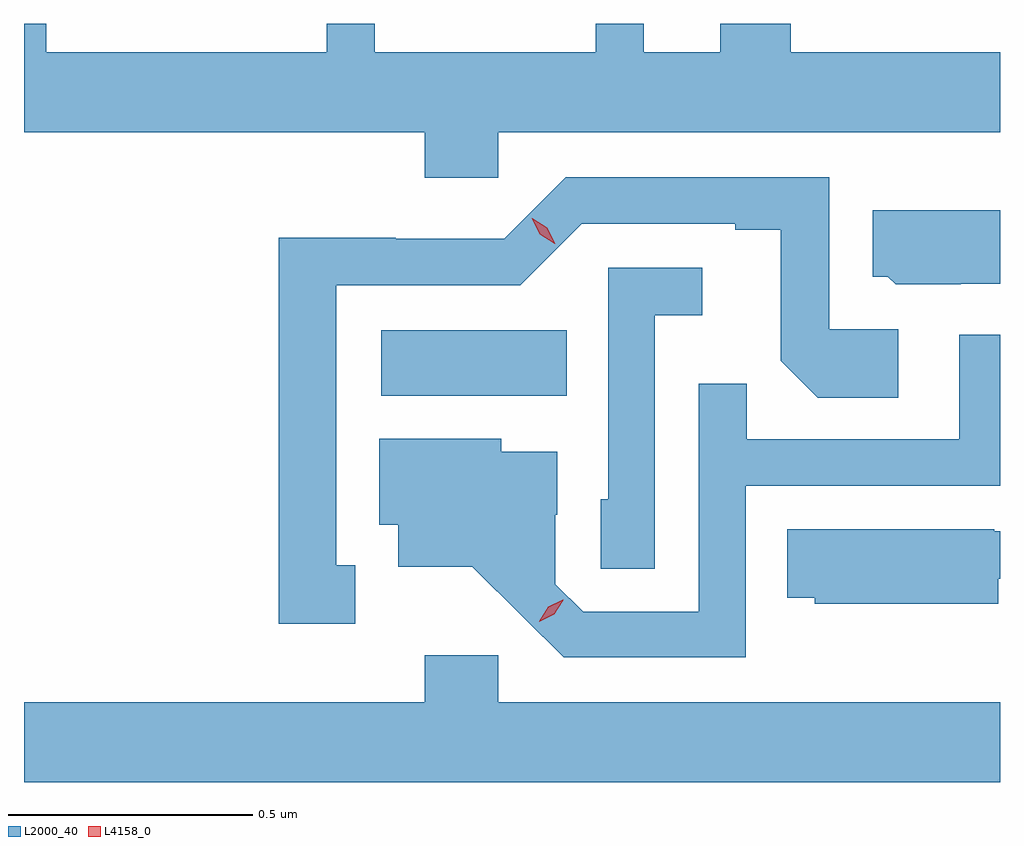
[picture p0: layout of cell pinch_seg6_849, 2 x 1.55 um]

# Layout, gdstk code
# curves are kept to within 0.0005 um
import gdstk
lib = gdstk.Library(unit=1e-6, precision=1e-09)
def R(c, l, rs):  # rectangles x0, y0, x1, y1
    for r in rs: c.add(gdstk.rectangle(r[:2], r[2:], *l))
def P(c, l, *ps):  # polygons
    for p in ps: c.add(gdstk.Polygon(p, *l))
L2000_40 = (2000, 40)
L4158_0 = (4158, 0)

pinch_seg6_849 = lib.new_cell('pinch_seg6_849')
R(pinch_seg6_849, L2000_40, [(150.696,976.1,151.076,976.234)])
P(pinch_seg6_849, L2000_40, [(150.936,976.64),(151.964,976.64),(151.964,976.804),(151.535,976.804),(151.535,976.862),(151.391,976.862),(151.391,976.804),(151.234,976.804),(151.234,976.862),(151.136,976.862),(151.136,976.804),(150.683,976.804),(150.683,976.862),(150.584,976.862),(150.584,976.804),(150.01,976.804),(150.01,976.862),(149.964,976.862),(149.964,976.64),(150.785,976.64),(150.785,976.547),(150.936,976.547)],
  [(150.643,975.753),(150.604,975.753),(150.604,976.326),(150.981,976.326),(151.107,976.452),(151.421,976.452),(151.421,976.44),(151.515,976.44),(151.515,976.172),(151.591,976.096),(151.756,976.096),(151.756,976.236),(151.614,976.236),(151.614,976.548),(151.074,976.548),(150.948,976.422),(150.726,976.422),(150.726,976.424),(150.486,976.424),(150.486,975.633),(150.643,975.633)],
  [(151.884,976.329),(151.964,976.329),(151.964,976.48),(151.703,976.48),(151.703,976.344),(151.734,976.344),(151.75,976.328),(151.884,976.328)],
  [(151.257,976.265),(151.354,976.265),(151.354,976.362),(151.161,976.362),(151.161,975.888),(151.146,975.888),(151.146,975.745),(151.257,975.745)],
  [(151.443,975.915),(151.964,975.915),(151.964,976.225),(151.881,976.225),(151.881,976.011),(151.445,976.011),(151.445,976.124),(151.347,976.124),(151.347,975.657),(151.11,975.657),(151.053,975.714),(151.053,975.856),(151.057,975.856),(151.057,975.985),(150.942,975.985),(150.942,976.012),(150.692,976.012),(150.692,975.836),(150.731,975.836),(150.731,975.749),(150.883,975.749),(151.07,975.564),(151.443,975.564)],
  [(151.96,975.725),(151.964,975.725),(151.964,975.822),(151.952,975.822),(151.952,975.826),(151.528,975.826),(151.528,975.686),(151.584,975.686),(151.584,975.674),(151.96,975.674)],
  [(151.964,975.472),(150.936,975.472),(150.936,975.568),(150.785,975.568),(150.785,975.472),(149.964,975.472),(149.964,975.308),(151.964,975.308)])
P(pinch_seg6_849, L4158_0, [(151.02,975.637),(151.02,975.638),(151.038,975.667),(151.068,975.682),(151.069,975.682),(151.069,975.681),(151.051,975.652),(151.02,975.637)],
  [(151.052,976.411),(151.021,976.431),(151.004,976.464),(151.004,976.464),(151.005,976.464),(151.036,976.444),(151.053,976.411),(151.053,976.411)])

lib.write_gds('pinch_seg6_849.gds')
